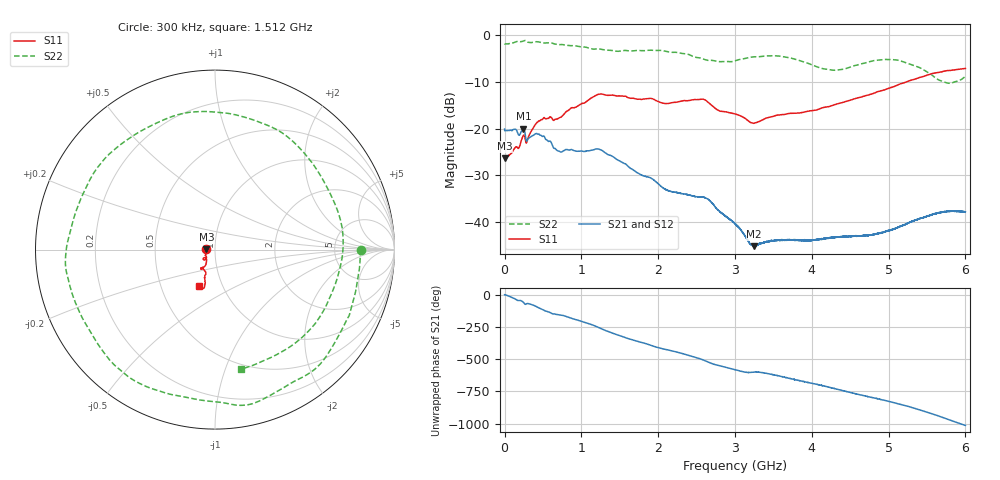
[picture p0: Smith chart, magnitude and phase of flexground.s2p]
!  8/6/2020  01:16:05
! Ref Plane: 0.000 mm
# MHZ S MA R  50
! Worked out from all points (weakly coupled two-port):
!   10001 points, 300 kHz to 6 GHz, reference 50 ohm
!   highest |S21| = -20.02 dB at 244.5 MHz (marker M1); lowest = -45.3 dB at 3.25 GHz (marker M2)
!   lowest |S11| = -26.4 dB at 900 kHz (marker M3), VSWR 1.10, Z = 45.4 + j0.0873 ohm
!   |S11| at or under -10 dB: start of sweep to 5.228 GHz
!   |S22| runs from -10.3 to -1.1 dB; largest |S21 - S12| = 0.0023
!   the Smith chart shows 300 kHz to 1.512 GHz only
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0.3  0.0482 178.2  0.09879 -1.1  0.09654 -1.0  0.8158 -0.3
0.9  0.04774 178.8  0.09486 -0.5  0.0954 -0.4  0.8099 -0.5
244.4878  0.08442 -137.0  0.09973 -60.7  0.09969 -60.8  0.871 -70.3
602.0699  0.1333 -126.4  0.07211 -143.5  0.07221 -143.5  0.8366 -175.2
1000.45  0.1851 -107.6  0.05748 152.5  0.05752 152.4  0.7542 74.5
1254.237  0.2358 -111.6  0.05909 95.9  0.05917 95.8  0.7127 -0.3
1541.023  0.223 -114.0  0.04292 33.3  0.04294 33.0  0.6877 -86.2
1784.011  0.2058 -108.5  0.03161 -10.8  0.03164 -10.8  0.6873 -153.8
2000.6  0.195 -107.5  0.02557 -51.5  0.0256 -51.6  0.6906 149.7
2256.187  0.1932 -94.5  0.02049 -87.2  0.02056 -87.3  0.6558 84.7
2536.373  0.2056 -91.9  0.01841 -135.5  0.01843 -135.5  0.5752 7.7
2781.161  0.1572 -90.3  0.01329 172.3  0.0133 172.2  0.5258 -68.2
3000.15  0.1435 -78.0  0.009475 138.2  0.009513 138.6  0.5335 -137.7
3250.338  0.114 -57.3  0.005461 120.5  0.005494 119.8  0.5896 153.6
3569.521  0.1401 -32.9  0.006341 90.7  0.006319 90.5  0.6022 75.9
4000.3  0.1557 -9.3  0.006317 33.8  0.006345 34.1  0.484 -34.6
4216.289  0.172 2.6  0.006665 4.3  0.006684 4.1  0.4309 -103.2
4475.476  0.1985 13.9  0.006942 -33.9  0.006948 -34.0  0.45 172.7
4750.262  0.2315 24.1  0.007163 -71.9  0.007164 -72.0  0.5224 99.0
5000.45  0.2704 32.4  0.008062 -106.5  0.007989 -106.5  0.551 41.2
5490.025  0.3719 38.1  0.01133 172.2  0.01139 171.8  0.4122 -75.0
6000  0.4424 32.0  0.01277 67.4  0.01278 67.2  0.3619 109.5
